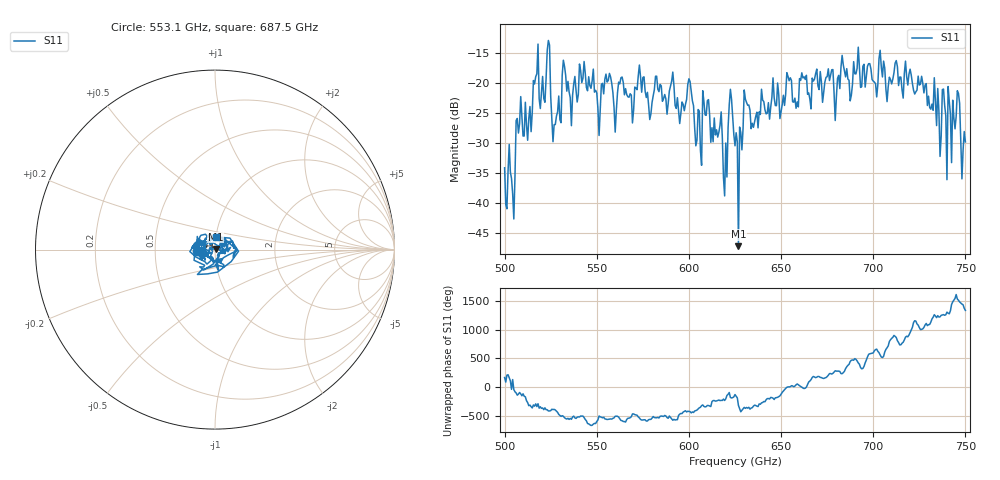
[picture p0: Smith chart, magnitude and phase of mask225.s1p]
!Created with skrf (http://scikit-rf.org).
# GHz S MA R 50.0
!freq magS11 angS11
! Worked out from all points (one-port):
!   401 points, 500 GHz to 750 GHz, reference 50 ohm
!   lowest |S11| = -47.3 dB at 626.9 GHz (marker M1), VSWR 1.01, Z = 50.3 + j0.288 ohm
!   |S11| at or under -10 dB: start of sweep to end of sweep
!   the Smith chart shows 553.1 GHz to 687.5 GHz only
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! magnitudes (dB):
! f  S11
! 500 GHz  -34.2
! 504.4 GHz  -38.5
! 507.5 GHz  -28.4
! 513.8 GHz  -24.0
! 516.9 GHz  -19.0
! 520.6 GHz  -18.9
! 523.8 GHz  -12.9
! 526.9 GHz  -27.0
! 531.2 GHz  -18.7
! 556.2 GHz  -19.6
! 560 GHz  -28.2
! 562.5 GHz  -20.2
! 593.8 GHz  -22.5
! 600.6 GHz  -19.8
! 605.6 GHz  -24.7
! 608.8 GHz  -25.3
! 619.4 GHz  -38.9
! 622.5 GHz  -21.1
! 625 GHz  -30.5
! 626.9 GHz  -47.3
! 631.2 GHz  -23.3
! 635 GHz  -27.4
! 656.2 GHz  -23.2
! 687.5 GHz  -23.0
! 718.8 GHz  -20.4
! 735.6 GHz  -24.7
! 745.6 GHz  -21.3
! 750 GHz  -29.9
